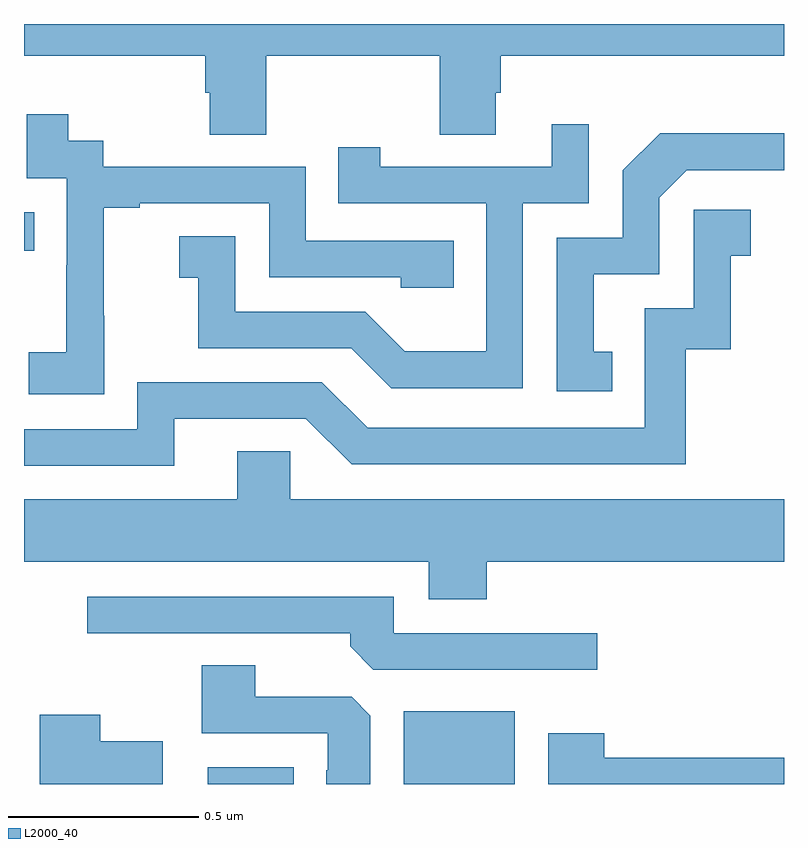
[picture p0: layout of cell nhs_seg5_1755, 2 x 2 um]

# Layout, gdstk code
import gdstk
lib = gdstk.Library(unit=1e-6, precision=1e-09)
def R(c, l, rs):  # rectangles x0, y0, x1, y1
    for r in rs: c.add(gdstk.rectangle(r[:2], r[2:], *l))
def P(c, l, *ps):  # polygons
    for p in ps: c.add(gdstk.Polygon(p, *l))
L2000_40 = (2000, 40)

nhs_seg5_1755 = lib.new_cell('nhs_seg5_1755')
R(nhs_seg5_1755, L2000_40, [(134.483,898.799,134.71,898.843), (134.999,898.799,135.292,898.99), (134,900.202,134.027,900.303)])
P(nhs_seg5_1755, L2000_40, [(134.637,900.716),(135.094,900.716),(135.094,900.508),(135.241,900.508),(135.241,900.618),(135.254,900.618),(135.254,900.716),(136,900.716),(136,900.799),(134,900.799),(134,900.716),(134.477,900.716),(134.477,900.618),(134.489,900.618),(134.489,900.508),(134.637,900.508)],
  [(134.211,900.031),(134.21,900.031),(134.21,900.315),(134.305,900.315),(134.305,900.327),(134.646,900.327),(134.646,900.132),(134.991,900.132),(134.991,900.105),(135.131,900.105),(135.131,900.228),(134.742,900.228),(134.742,900.423),(134.208,900.423),(134.208,900.492),(134.116,900.492),(134.116,900.562),(134.007,900.562),(134.007,900.393),(134.112,900.393),(134.112,900.164),(134.111,900.164),(134.111,899.935),(134.013,899.935),(134.013,899.825),(134.211,899.825)],
  [(135.312,900.327),(135.486,900.327),(135.486,900.535),(135.389,900.535),(135.389,900.423),(134.938,900.423),(134.938,900.475),(134.827,900.475),(134.827,900.327),(135.216,900.327),(135.216,899.938),(135.002,899.938),(134.898,900.042),(134.556,900.042),(134.556,900.241),(134.409,900.241),(134.409,900.131),(134.458,900.131),(134.458,899.946),(134.861,899.946),(134.966,899.841),(135.312,899.841)],
  [(135.548,899.937),(135.499,899.937),(135.499,900.141),(135.672,900.141),(135.672,900.342),(135.744,900.414),(136,900.414),(136,900.512),(135.674,900.512),(135.576,900.414),(135.576,900.237),(135.402,900.237),(135.402,899.832),(135.548,899.832)],
  [(134.395,899.76),(134.742,899.76),(134.862,899.64),(135.742,899.64),(135.742,899.943),(135.86,899.943),(135.86,900.189),(135.913,900.189),(135.913,900.31),(135.762,900.31),(135.762,900.051),(135.633,900.051),(135.633,899.736),(134.904,899.736),(134.784,899.856),(134.298,899.856),(134.298,899.733),(134,899.733),(134,899.637),(134.395,899.637)],
  [(135.218,899.384),(136,899.384),(136,899.548),(134.7,899.548),(134.7,899.675),(134.561,899.675),(134.561,899.548),(134,899.548),(134,899.384),(135.065,899.384),(135.065,899.285),(135.218,899.285)],
  [(135.508,899.196),(134.973,899.196),(134.973,899.292),(134.166,899.292),(134.166,899.196),(134.858,899.196),(134.858,899.162),(134.919,899.1),(135.508,899.1)],
  [(134.911,898.979),(134.862,899.028),(134.608,899.028),(134.608,899.111),(134.468,899.111),(134.468,898.932),(134.799,898.932),(134.799,898.835),(134.795,898.835),(134.795,898.799),(134.911,898.799)],
  [(134.365,898.912),(134.2,898.912),(134.2,898.981),(134.042,898.981),(134.042,898.799),(134.365,898.799)],
  [(136,898.868),(135.527,898.868),(135.527,898.933),(135.38,898.933),(135.38,898.799),(136,898.799)])

lib.write_gds('nhs_seg5_1755.gds')
